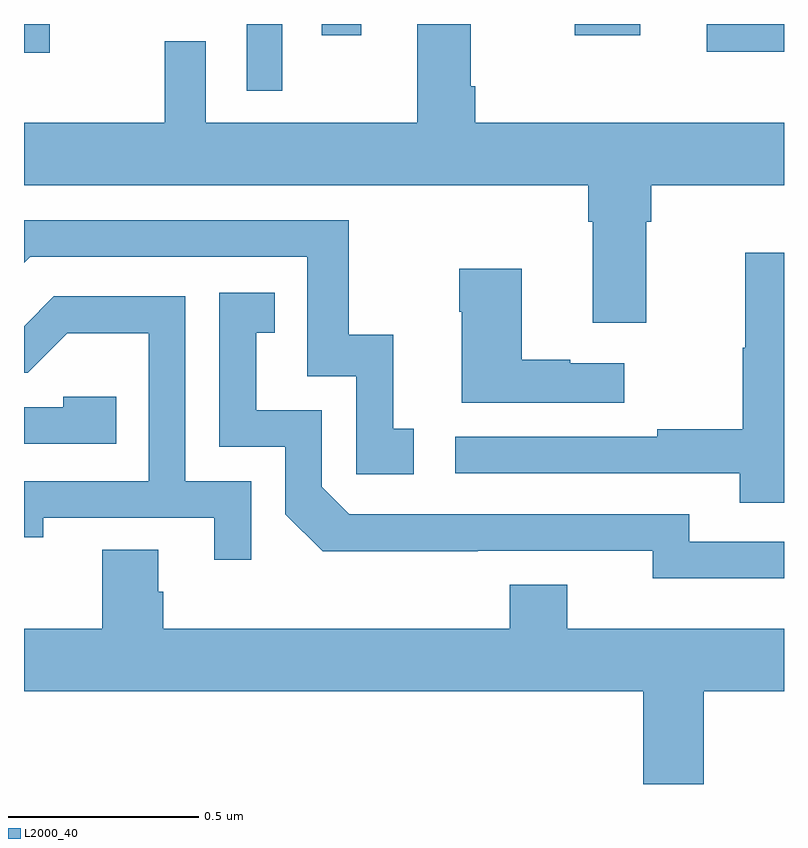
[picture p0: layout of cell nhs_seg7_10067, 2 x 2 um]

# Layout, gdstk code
import gdstk
lib = gdstk.Library(unit=1e-6, precision=1e-09)
def R(c, l, rs):  # rectangles x0, y0, x1, y1
    for r in rs: c.add(gdstk.rectangle(r[:2], r[2:], *l))
def P(c, l, *ps):  # polygons
    for p in ps: c.add(gdstk.Polygon(p, *l))
L2000_40 = (2000, 40)

nhs_seg7_10067 = lib.new_cell('nhs_seg7_10067')
R(nhs_seg7_10067, L2000_40, [(245.586,1040.825,245.679,1041), (245,1040.924,245.068,1041), (246.797,1040.927,247,1041), (245.783,1040.97,245.887,1041), (246.449,1040.97,246.622,1041)])
P(nhs_seg7_10067, L2000_40, [(246.637,1040.48),(246.65,1040.48),(246.65,1040.576),(247,1040.576),(247,1040.74),(246.188,1040.74),(246.188,1040.836),(246.175,1040.836),(246.175,1041),(246.035,1041),(246.035,1040.74),(245.478,1040.74),(245.478,1040.954),(245.37,1040.954),(245.37,1040.74),(245,1040.74),(245,1040.576),(246.485,1040.576),(246.485,1040.48),(246.497,1040.48),(246.497,1040.214),(246.637,1040.214)],
  [(246.025,1039.935),(245.972,1039.935),(245.972,1040.182),(245.854,1040.182),(245.854,1040.484),(245,1040.484),(245,1040.372),(245.016,1040.388),(245.745,1040.388),(245.745,1040.073),(245.874,1040.073),(245.874,1039.815),(246.025,1039.815)],
  [(247,1040.398),(246.898,1040.398),(246.898,1040.148),(246.891,1040.148),(246.891,1039.934),(246.667,1039.934),(246.667,1039.914),(246.135,1039.914),(246.135,1039.818),(246.883,1039.818),(246.883,1039.74),(247,1039.74)],
  [(246.58,1040.107),(246.437,1040.107),(246.437,1040.117),(246.31,1040.117),(246.31,1040.356),(246.145,1040.356),(246.145,1040.243),(246.152,1040.243),(246.152,1040.003),(246.58,1040.003)],
  [(247,1039.638),(246.75,1039.638),(246.75,1039.71),(245.856,1039.71),(245.784,1039.782),(245.784,1039.983),(245.611,1039.983),(245.611,1040.187),(245.66,1040.187),(245.66,1040.293),(245.514,1040.293),(245.514,1039.887),(245.688,1039.887),(245.688,1039.71),(245.786,1039.613),(246.194,1039.613),(246.194,1039.614),(246.654,1039.614),(246.654,1039.541),(247,1039.541)],
  [(245.598,1039.797),(245.424,1039.797),(245.424,1040.283),(245.078,1040.283),(245,1040.205),(245,1040.082),(245.01,1040.082),(245.114,1040.186),(245.328,1040.186),(245.328,1039.797),(245,1039.797),(245,1039.65),(245.05,1039.65),(245.05,1039.701),(245.501,1039.701),(245.501,1039.59),(245.598,1039.59)],
  [(245.243,1040.019),(245.103,1040.019),(245.103,1039.992),(245,1039.992),(245,1039.896),(245.243,1039.896)],
  [(246.789,1039.244),(247,1039.244),(247,1039.408),(246.43,1039.408),(246.43,1039.525),(246.278,1039.525),(246.278,1039.408),(245.366,1039.408),(245.366,1039.506),(245.353,1039.506),(245.353,1039.616),(245.206,1039.616),(245.206,1039.408),(245,1039.408),(245,1039.244),(246.629,1039.244),(246.629,1039),(246.789,1039)])

lib.write_gds('nhs_seg7_10067.gds')
